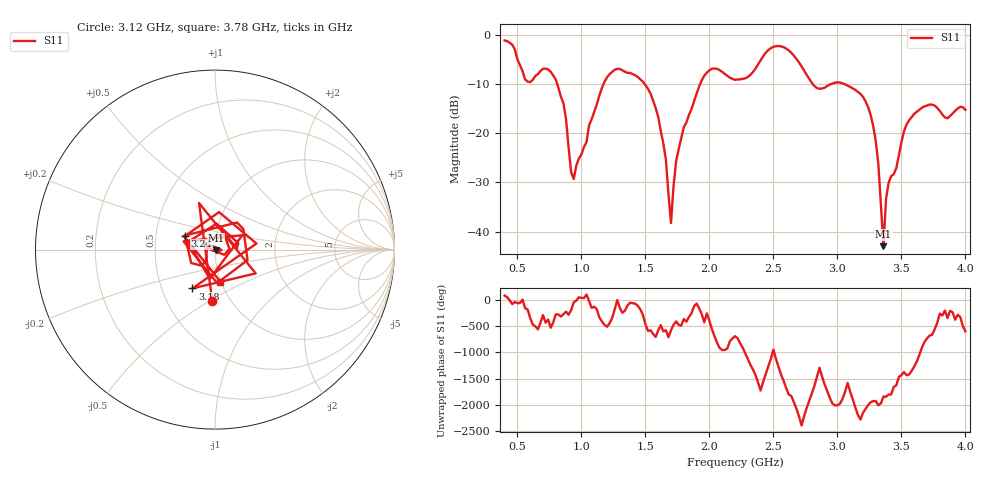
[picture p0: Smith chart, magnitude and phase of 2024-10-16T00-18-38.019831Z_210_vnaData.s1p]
! Created with skrf (http://scikit-rf.org).
# Hz S RI R 50.0
!freq ReS11 ImS11
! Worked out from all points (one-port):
!   181 points, 400 MHz to 4 GHz, reference 50 ohm
!   lowest |S11| = -43.0 dB at 3.36 GHz (marker M1), VSWR 1.01, Z = 50.5 - j0.491 ohm
!   |S11| at or under -10 dB: 810.6 MHz to 1.174 GHz (363.1 MHz wide, 36.6 % of centre); 1.493 GHz to 1.928 GHz (435.2 MHz wide, 25.4 % of centre); 3.05 GHz to end of sweep (the widest 3 of 4)
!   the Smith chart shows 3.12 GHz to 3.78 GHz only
!   S11 on the Smith chart (normalised r, x): 3.12 GHz: 0.83, -0.51; 3.18 GHz: 0.71, -0.33; 3.24 GHz: 0.71, +0.11; 3.78 GHz: 0.99, -0.37
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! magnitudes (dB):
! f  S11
! 400 MHz  -1.2
! 580 MHz  -9.5
! 760 MHz  -7.5
! 860 MHz  -14.0
! 940 MHz  -29.3
! 1.18 GHz  -9.6
! 1.3 GHz  -7.0
! 1.58 GHz  -14.9
! 1.66 GHz  -25.4
! 1.7 GHz  -38.2
! 1.72 GHz  -30.7
! 1.76 GHz  -23.2
! 1.96 GHz  -8.3
! 2.2 GHz  -9.2
! 2.5 GHz  -2.5
! 2.66 GHz  -4.3
! 2.84 GHz  -10.8
! 3.1 GHz  -10.6
! 3.12 GHz  -10.9
! 3.18 GHz  -12.0
! 3.24 GHz  -14.7
! 3.32 GHz  -26.3
! 3.36 GHz  -43.0
! 3.38 GHz  -33.4
! 3.4 GHz  -30.1
! 3.56 GHz  -17.4
! 3.78 GHz  -14.9
! 4 GHz  -15.3
